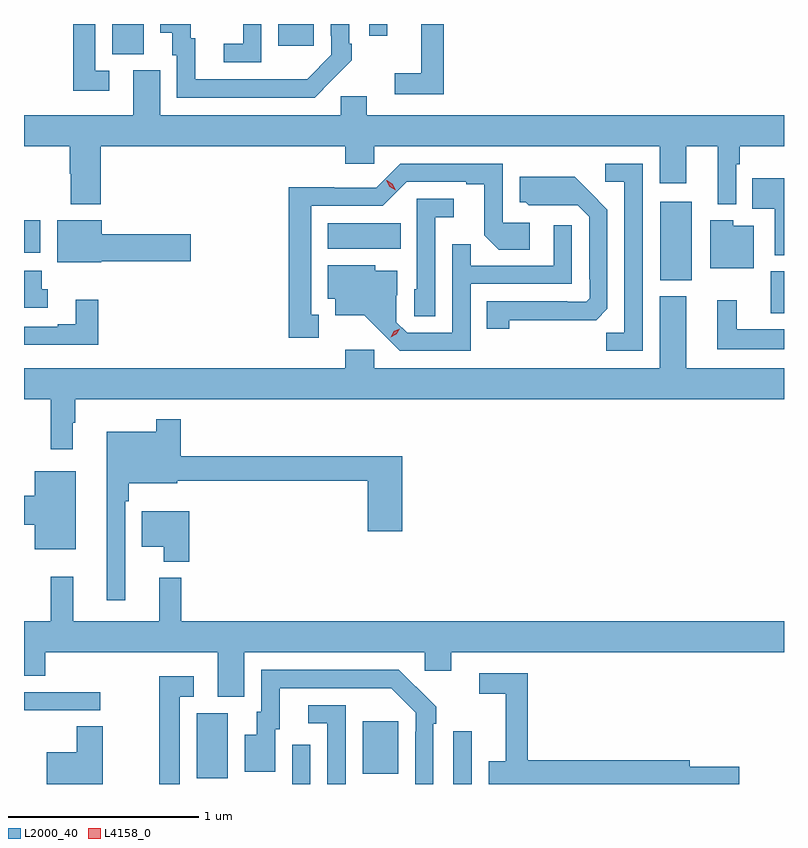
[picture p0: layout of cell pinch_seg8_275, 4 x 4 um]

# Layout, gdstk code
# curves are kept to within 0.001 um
import gdstk
lib = gdstk.Library(unit=1e-6, precision=1e-09)
def R(c, l, rs):  # rectangles x0, y0, x1, y1
    for r in rs: c.add(gdstk.rectangle(r[:2], r[2:], *l))
def P(c, l, *ps):  # polygons
    for p in ps: c.add(gdstk.Polygon(p, *l))
L2000_40 = (2000, 40)
L4158_0 = (4158, 0)

pinch_seg8_275 = lib.new_cell('pinch_seg8_275')
R(pinch_seg8_275, L2000_40, [(532.122,1151.771,532.218,1151.977), (532.971,1151.771,533.067,1152.049), (531.62,1151.8,531.784,1152.144), (532.493,1151.825,532.681,1152.1), (530.711,1152.159,531.112,1152.255), (534.641,1154.249,534.711,1154.469), (534.059,1154.423,534.226,1154.836), (530.711,1154.567,530.797,1154.737), (532.31,1154.588,532.694,1154.722), (531.176,1155.613,531.34,1155.771), (532.049,1155.657,532.237,1155.771), (532.527,1155.708,532.623,1155.771)])
P(pinch_seg8_275, L2000_40, [(532.919,1155.771),(532.802,1155.771),(532.802,1155.511),(532.662,1155.511),(532.662,1155.402),(532.919,1155.402)],
  [(531.16,1155.525),(531.087,1155.525),(531.087,1155.771),(530.971,1155.771),(530.971,1155.42),(531.16,1155.42)],
  [(531.96,1155.771),(531.864,1155.771),(531.864,1155.666),(531.762,1155.666),(531.762,1155.57),(531.96,1155.57)],
  [(532.331,1155.475),(532.332,1155.474),(532.437,1155.579),(532.437,1155.667),(532.422,1155.667),(532.422,1155.771),(532.326,1155.771),(532.326,1155.709),(532.329,1155.709),(532.329,1155.609),(532.201,1155.481),(532.097,1155.48),(531.613,1155.48),(531.613,1155.696),(531.589,1155.696),(531.589,1155.771),(531.428,1155.771),(531.428,1155.725),(531.491,1155.725),(531.491,1155.606),(531.516,1155.606),(531.516,1155.384),(532.24,1155.384)],
  [(534.459,1155.032),(534.479,1155.032),(534.479,1155.128),(534.711,1155.128),(534.711,1155.292),(532.516,1155.292),(532.516,1155.39),(532.377,1155.39),(532.377,1155.292),(531.427,1155.292),(531.427,1155.528),(531.287,1155.528),(531.287,1155.292),(530.711,1155.292),(530.711,1155.128),(530.951,1155.128),(530.951,1154.984),(530.956,1154.984),(530.956,1154.823),(531.116,1154.823),(531.116,1155.128),(532.403,1155.128),(532.403,1155.035),(532.554,1155.035),(532.554,1155.128),(534.056,1155.128),(534.056,1154.934),(534.196,1154.934),(534.196,1155.128),(534.362,1155.128),(534.362,1154.822),(534.459,1154.822)],
  [(533.967,1155.036),(533.769,1155.036),(533.769,1154.94),(533.871,1154.94),(533.871,1154.147),(533.776,1154.147),(533.776,1154.052),(533.967,1154.052)],
  [(532.261,1154.241),(532.222,1154.241),(532.222,1154.814),(532.599,1154.814),(532.725,1154.94),(533.039,1154.94),(533.039,1154.928),(533.133,1154.928),(533.133,1154.66),(533.209,1154.584),(533.374,1154.584),(533.374,1154.724),(533.232,1154.724),(533.232,1155.036),(532.692,1155.036),(532.566,1154.91),(532.344,1154.91),(532.344,1154.912),(532.104,1154.912),(532.104,1154.121),(532.261,1154.121)],
  [(533.265,1154.212),(533.722,1154.213),(533.781,1154.272),(533.781,1154.794),(533.609,1154.968),(533.321,1154.968),(533.321,1154.832),(533.352,1154.832),(533.368,1154.816),(533.625,1154.817),(533.685,1154.757),(533.685,1154.428),(533.688,1154.428),(533.688,1154.328),(533.67,1154.31),(533.57,1154.31),(533.57,1154.313),(533.146,1154.313),(533.146,1154.166),(533.265,1154.166)],
  [(534.711,1154.959),(534.544,1154.959),(534.544,1154.798),(534.662,1154.798),(534.662,1154.554),(534.711,1154.554)],
  [(532.875,1154.753),(532.972,1154.753),(532.972,1154.85),(532.779,1154.85),(532.779,1154.376),(532.764,1154.376),(532.764,1154.233),(532.875,1154.233)],
  [(534.553,1154.71),(534.444,1154.71),(534.444,1154.737),(534.323,1154.737),(534.323,1154.486),(534.553,1154.486)],
  [(531.117,1154.522),(531.589,1154.522),(531.589,1154.664),(531.121,1154.664),(531.121,1154.737),(530.885,1154.737),(530.885,1154.516),(531.117,1154.516)],
  [(533.061,1154.403),(533.595,1154.403),(533.595,1154.713),(533.499,1154.713),(533.499,1154.499),(533.063,1154.499),(533.063,1154.612),(532.965,1154.612),(532.965,1154.145),(532.728,1154.145),(532.671,1154.202),(532.671,1154.344),(532.675,1154.344),(532.675,1154.473),(532.56,1154.473),(532.56,1154.5),(532.31,1154.5),(532.31,1154.324),(532.349,1154.324),(532.349,1154.237),(532.501,1154.237),(532.688,1154.052),(533.061,1154.052)],
  [(530.836,1154.375),(530.804,1154.375),(530.804,1154.472),(530.711,1154.472),(530.711,1154.277),(530.836,1154.277)],
  [(530.968,1153.673),(530.98,1153.673),(530.98,1153.796),(534.711,1153.796),(534.711,1153.96),(534.196,1153.96),(534.196,1154.338),(534.056,1154.338),(534.056,1153.96),(532.554,1153.96),(532.554,1154.056),(532.403,1154.056),(532.403,1153.96),(530.711,1153.96),(530.711,1153.796),(530.851,1153.796),(530.851,1153.533),(530.968,1153.533)],
  [(531.101,1154.32),(530.984,1154.32),(530.984,1154.191),(530.888,1154.191),(530.888,1154.178),(530.711,1154.178),(530.711,1154.082),(531.101,1154.082)],
  [(534.711,1154.164),(534.463,1154.164),(534.463,1154.317),(534.359,1154.317),(534.359,1154.06),(534.711,1154.06)],
  [(531.243,1153.259),(531.263,1153.259),(531.263,1153.355),(531.517,1153.355),(531.517,1153.366),(532.52,1153.366),(532.52,1153.101),(532.703,1153.101),(532.703,1153.495),(531.536,1153.495),(531.536,1153.69),(531.408,1153.69),(531.408,1153.624),(531.146,1153.624),(531.146,1152.738),(531.243,1152.738)],
  [(530.983,1153.417),(530.768,1153.417),(530.768,1153.288),(530.711,1153.288),(530.711,1153.136),(530.768,1153.136),(530.768,1153.007),(530.983,1153.007)],
  [(531.581,1153.207),(531.332,1153.207),(531.332,1153.019),(531.446,1153.019),(531.446,1152.941),(531.581,1152.941)],
  [(531.871,1152.464),(532.821,1152.464),(532.821,1152.366),(532.96,1152.366),(532.96,1152.464),(534.711,1152.464),(534.711,1152.628),(531.539,1152.628),(531.539,1152.856),(531.422,1152.856),(531.422,1152.628),(530.969,1152.628),(530.969,1152.862),(530.851,1152.862),(530.851,1152.628),(530.711,1152.628),(530.711,1152.34),(530.822,1152.34),(530.822,1152.464),(531.731,1152.464),(531.731,1152.229),(531.871,1152.229)],
  [(532.866,1152.089),(532.881,1152.089),(532.881,1152.177),(532.684,1152.372),(531.96,1152.372),(531.96,1152.15),(531.935,1152.15),(531.935,1152.031),(531.872,1152.031),(531.872,1151.835),(532.033,1151.835),(532.033,1152.06),(532.057,1152.06),(532.057,1152.276),(532.645,1152.276),(532.773,1152.147),(532.773,1152.047),(532.77,1152.047),(532.77,1151.771),(532.866,1151.771)],
  [(534.475,1151.861),(534.214,1151.861),(534.214,1151.897),(533.363,1151.897),(533.363,1152.354),(533.106,1152.354),(533.106,1152.246),(533.246,1152.246),(533.246,1151.89),(533.156,1151.89),(533.156,1151.771),(534.475,1151.771)],
  [(531.531,1152.231),(531.604,1152.231),(531.604,1152.337),(531.423,1152.337),(531.423,1151.771),(531.531,1151.771)],
  [(532.404,1152.186),(532.206,1152.186),(532.206,1152.09),(532.308,1152.09),(532.308,1151.771),(532.404,1151.771)],
  [(531.126,1152.074),(530.989,1152.074),(530.989,1151.938),(530.831,1151.938),(530.831,1151.771),(531.126,1151.771)])
P(pinch_seg8_275, L4158_0, [(532.64,1154.123),(532.64,1154.123),(532.658,1154.153),(532.688,1154.168),(532.688,1154.168),(532.688,1154.168),(532.671,1154.138),(532.64,1154.123)],
  [(532.667,1154.896),(532.636,1154.915),(532.618,1154.948),(532.618,1154.948),(532.619,1154.948),(532.65,1154.929),(532.668,1154.896),(532.668,1154.896)])

lib.write_gds('pinch_seg8_275.gds')
